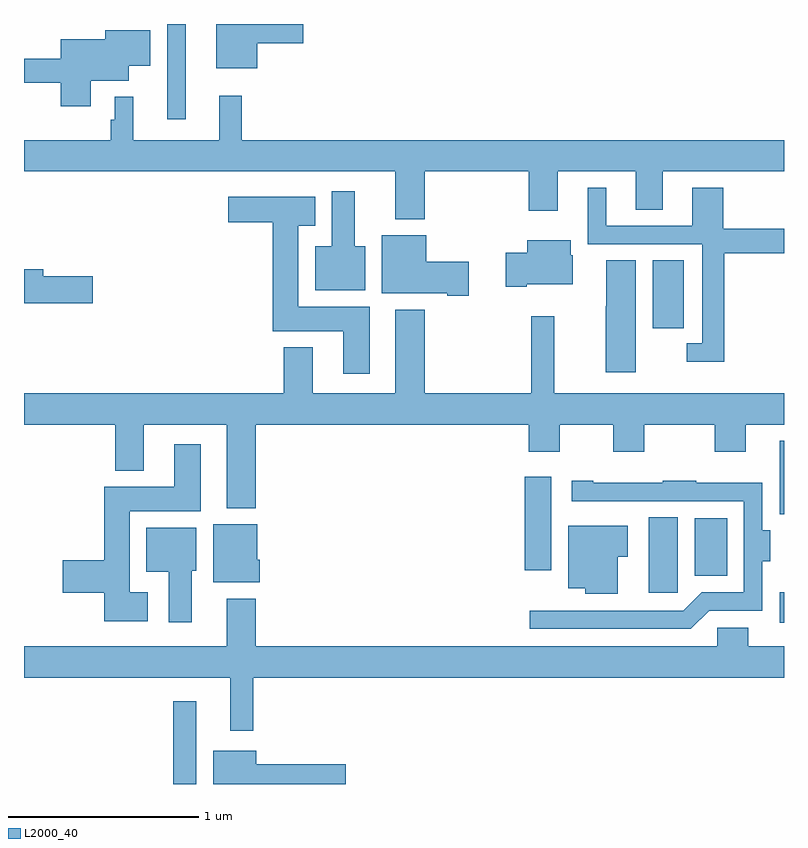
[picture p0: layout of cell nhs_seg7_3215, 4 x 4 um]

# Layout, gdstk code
import gdstk
lib = gdstk.Library(unit=1e-6, precision=1e-09)
def R(c, l, rs):  # rectangles x0, y0, x1, y1
    for r in rs: c.add(gdstk.rectangle(r[:2], r[2:], *l))
def P(c, l, *ps):  # polygons
    for p in ps: c.add(gdstk.Polygon(p, *l))
L2000_40 = (2000, 40)

nhs_seg7_3215 = lib.new_cell('nhs_seg7_3215')
R(nhs_seg7_3215, L2000_40, [(315.786,1056,315.907,1056.436), (318.977,1056.849,319,1057.009), (318.287,1057.007,318.442,1057.403), (318.53,1057.097,318.7,1057.399), (317.636,1057.125,317.776,1057.618), (318.977,1057.421,319,1057.807), (318.308,1058.4,318.472,1058.756), (315.753,1059.498,315.85,1060)])
P(nhs_seg7_3215, L2000_40, [(316.228,1059.899),(316.471,1059.899),(316.471,1060),(316.013,1060),(316.013,1059.767),(316.228,1059.767)],
  [(315.352,1059.701),(315.55,1059.701),(315.55,1059.779),(315.664,1059.779),(315.664,1059.967),(315.428,1059.967),(315.428,1059.919),(315.194,1059.919),(315.194,1059.818),(315,1059.818),(315,1059.69),(315.194,1059.69),(315.194,1059.567),(315.352,1059.567)],
  [(316.145,1059.622),(316.028,1059.622),(316.028,1059.388),(315.575,1059.388),(315.575,1059.616),(315.477,1059.616),(315.477,1059.495),(315.457,1059.495),(315.457,1059.388),(315,1059.388),(315,1059.224),(316.955,1059.224),(316.955,1058.972),(317.108,1058.972),(317.108,1059.224),(317.657,1059.224),(317.657,1059.018),(317.809,1059.018),(317.809,1059.224),(318.221,1059.224),(318.221,1059.022),(318.361,1059.022),(318.361,1059.224),(319,1059.224),(319,1059.388),(316.145,1059.388)],
  [(318.686,1058.794),(319,1058.794),(319,1058.923),(318.68,1058.923),(318.68,1059.139),(318.518,1059.139),(318.518,1058.937),(318.064,1058.937),(318.064,1059.139),(317.966,1059.139),(317.966,1058.841),(318.57,1058.841),(318.57,1058.319),(318.489,1058.319),(318.489,1058.222),(318.686,1058.222)],
  [(316.795,1058.83),(316.741,1058.83),(316.741,1059.121),(316.619,1059.121),(316.619,1058.83),(316.532,1058.83),(316.532,1058.6),(316.795,1058.6)],
  [(316.819,1058.512),(316.444,1058.512),(316.444,1058.939),(316.534,1058.939),(316.534,1059.091),(316.074,1059.091),(316.074,1058.957),(316.31,1058.957),(316.31,1058.384),(316.679,1058.384),(316.679,1058.16),(316.819,1058.16)],
  [(317.341,1058.748),(317.116,1058.748),(317.116,1058.887),(316.883,1058.887),(316.883,1058.582),(317.228,1058.582),(317.228,1058.57),(317.341,1058.57)],
  [(317.647,1058.63),(317.887,1058.63),(317.887,1058.784),(317.878,1058.784),(317.878,1058.863),(317.648,1058.863),(317.648,1058.796),(317.535,1058.796),(317.535,1058.618),(317.647,1058.618)],
  [(318.22,1058.756),(318.065,1058.756),(318.065,1058.514),(318.062,1058.514),(318.062,1058.166),(318.22,1058.166)],
  [(315.361,1058.672),(315.1,1058.672),(315.1,1058.708),(315,1058.708),(315,1058.53),(315.361,1058.53)],
  [(316.22,1057.892),(317.657,1057.892),(317.657,1057.749),(317.821,1057.749),(317.821,1057.892),(318.101,1057.892),(318.101,1057.749),(318.265,1057.749),(318.265,1057.892),(318.635,1057.892),(318.635,1057.749),(318.799,1057.749),(318.799,1057.892),(319,1057.892),(319,1058.056),(317.792,1058.056),(317.792,1058.461),(317.671,1058.461),(317.671,1058.056),(317.108,1058.056),(317.108,1058.497),(316.955,1058.497),(316.955,1058.056),(316.519,1058.056),(316.519,1058.299),(316.367,1058.299),(316.367,1058.056),(315,1058.056),(315,1057.892),(315.479,1057.892),(315.479,1057.649),(315.631,1057.649),(315.631,1057.892),(316.067,1057.892),(316.067,1057.451),(316.22,1057.451)],
  [(315.652,1057.009),(315.556,1057.009),(315.556,1057.436),(315.931,1057.436),(315.931,1057.789),(315.791,1057.789),(315.791,1057.564),(315.422,1057.564),(315.422,1057.178),(315.204,1057.178),(315.204,1057.007),(315.422,1057.007),(315.422,1056.857),(315.652,1056.857)],
  [(318.606,1056.912),(318.886,1056.912),(318.886,1057.172),(318.928,1057.172),(318.928,1057.336),(318.885,1057.336),(318.885,1057.585),(318.539,1057.585),(318.539,1057.597),(318.361,1057.597),(318.361,1057.585),(317.995,1057.585),(317.995,1057.597),(317.883,1057.597),(317.883,1057.488),(318.789,1057.488),(318.789,1057.008),(318.567,1057.008),(318.471,1056.912),(317.661,1056.912),(317.661,1056.816),(318.51,1056.816)],
  [(316.24,1057.179),(316.228,1057.179),(316.228,1057.366),(315.995,1057.366),(315.995,1057.061),(316.24,1057.061)],
  [(318.124,1057.196),(318.178,1057.196),(318.178,1057.36),(317.864,1057.36),(317.864,1057.031),(317.954,1057.031),(317.954,1057.001),(318.124,1057.001)],
  [(315.883,1057.122),(315.907,1057.122),(315.907,1057.348),(315.644,1057.348),(315.644,1057.118),(315.761,1057.118),(315.761,1056.852),(315.883,1056.852)],
  [(316.207,1056.56),(319,1056.56),(319,1056.724),(318.812,1056.724),(318.812,1056.822),(318.648,1056.822),(318.648,1056.724),(316.22,1056.724),(316.22,1056.976),(316.067,1056.976),(316.067,1056.724),(315,1056.724),(315,1056.56),(316.085,1056.56),(316.085,1056.279),(316.207,1056.279)],
  [(316.693,1056.105),(316.222,1056.105),(316.222,1056.175),(315.995,1056.175),(315.995,1056),(316.693,1056)])

lib.write_gds('nhs_seg7_3215.gds')
